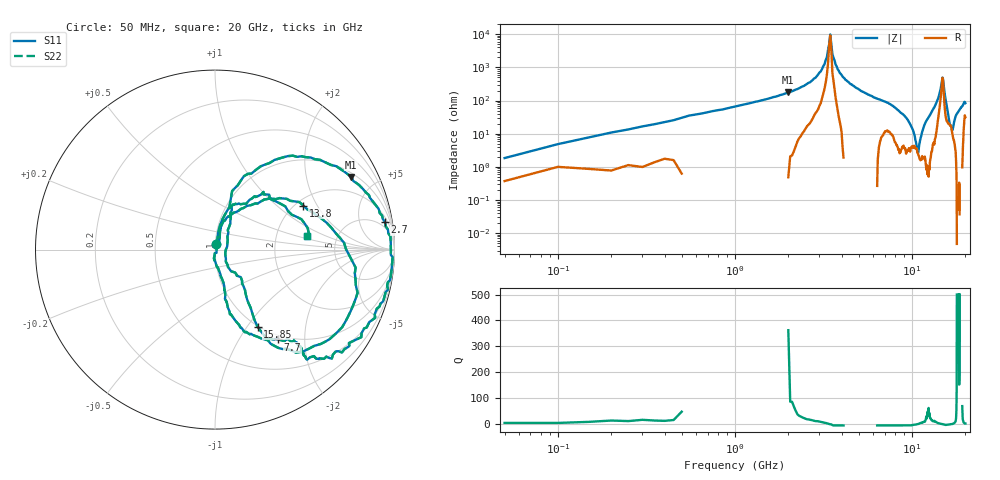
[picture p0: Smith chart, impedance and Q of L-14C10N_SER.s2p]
#	mhz	s	ma	r	50
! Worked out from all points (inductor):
!   400 points, 50 MHz to 20 GHz, reference 50 ohm
!   read as one part in series: L = 8.51 nH near 150 MHz
!   highest Q = 52 at 2 GHz (marker M1), where L = 14.1 nH
!   self-resonance near 3.4 GHz
!   S11 on the Smith chart (normalised r, x): 50 MHz: 1.01, +0.06; 2.7 GHz: 3, +12; 7.7 GHz: 0.93, -1.48; 13.8 GHz: 2.19, +1.54; 15.85 GHz: 0.99, -1.12; 20 GHz: 3.03, +0.61
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50  0.03 74.4  1 -0.4  1 -0.4  0.03 74.4
550  0.34 73.7  0.94 -19.1  0.94 -19.1  0.34 73.7
2000  0.86 28.1  0.49 -61.9  0.49 -61.9  0.86 28.1
2700  0.96 9.1  0.25 -77.2  0.25 -77.2  0.96 9.1
3400  0.99 -6.0  0.02 -30.2  0.02 -30.2  0.99 -6.0
3450  0.99 -7.1  0.01 12.1  0.01 12.1  0.99 -7.1
3700  0.98 -11.9  0.08 72.4  0.08 72.4  0.98 -11.9
4200  0.96 -22.0  0.22 68.8  0.22 68.8  0.96 -22.0
6700  0.73 -48.9  0.65 36.6  0.65 36.6  0.73 -48.9
7700  0.61 -55.1  0.76 26.4  0.76 26.4  0.61 -55.1
10050  0.23 -77.0  0.95 1.2  0.95 1.2  0.23 -77.0
11150  0.05 -97.4  0.97 -10.7  0.97 -10.7  0.05 -97.4
11500  0.01 7.0  0.97 -14.8  0.97 -14.8  0.01 7.0
11950  0.1 74.5  0.96 -20.6  0.96 -20.6  0.1 74.5
13350  0.39 45.6  0.82 -42.9  0.82 -42.9  0.39 45.6
13800  0.55 26.5  0.7 -53.5  0.7 -53.5  0.55 26.5
14850  0.83 -27.3  0.16 -29.5  0.16 -29.5  0.83 -27.3
15850  0.49 -61.1  0.73 8.8  0.73 8.8  0.49 -61.1
16700  0.16 -51.1  0.87 -11.2  0.87 -11.2  0.16 -51.1
17150  0.06 -1.4  0.93 -19.0  0.93 -19.0  0.06 -1.4
17900  0.25 68.2  0.91 -31.6  0.91 -31.6  0.25 68.2
20000  0.52 8.1  0.75 -49.7  0.75 -49.7  0.52 8.1
